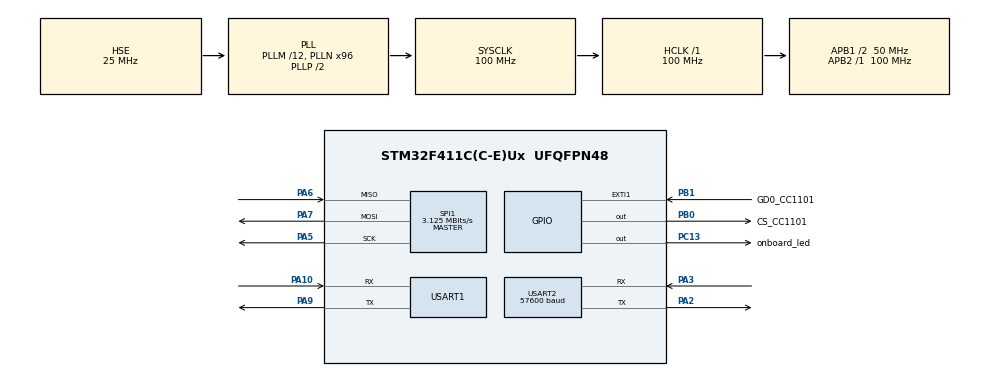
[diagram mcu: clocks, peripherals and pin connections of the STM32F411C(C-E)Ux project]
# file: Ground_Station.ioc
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FREERTOS.Tasks01=heartBeatTask,8,128,StartHeartBeatTask,Default,NULL,Dynamic,NULL,NULL;radioTask,40,128,StartRadioTask,Default,NULL,Dynamic,NULL,NULL;opticalTask,40,128,StartOpticalTask,Default,NULL,Dynamic,NULL,NULL;logTask,24,128,StartLogTask,Default,NULL,Dynamic,NULL,NULL
Mcu.Family=STM32F4
Mcu.Name=STM32F411C(C-E)Ux
Mcu.Package=UFQFPN48
NVIC.EXTI1_IRQn=true\:5\:0\:false\:false\:true\:true\:true\:true\:true
NVIC.PriorityGroup=NVIC_PRIORITYGROUP_4
NVIC.TIM1_TRG_COM_TIM11_IRQn=true\:15\:0\:false\:false\:true\:false\:false\:true\:true
NVIC.TimeBase=TIM1_TRG_COM_TIM11_IRQn
NVIC.TimeBaseIP=TIM11
NVIC.USART2_IRQn=true\:5\:0\:false\:false\:true\:true\:true\:true\:true
PA10.Mode=Asynchronous
PA10.Signal=USART1_RX
PA13.Mode=Serial_Wire
PA13.Signal=SYS_JTMS-SWDIO
PA14.Mode=Serial_Wire
PA14.Signal=SYS_JTCK-SWCLK
PA2.Mode=IrDA
PA2.Signal=USART2_TX
PA3.Mode=IrDA
PA3.Signal=USART2_RX
PA5.Mode=Full_Duplex_Master
PA5.Signal=SPI1_SCK
PA6.Mode=Full_Duplex_Master
PA6.Signal=SPI1_MISO
PA7.Mode=Full_Duplex_Master
PA7.Signal=SPI1_MOSI
PA9.Mode=Asynchronous
PA9.Signal=USART1_TX
PB0.GPIO_Label=CS_CC1101
PB0.Signal=GPIO_Output
PB1.GPIO_Label=GD0_CC1101
PB1.GPIO_ModeDefaultEXTI=GPIO_MODE_IT_FALLING
PB1.Signal=GPXTI1
PC13-ANTI_TAMP.GPIO_Label=onboard_led
PC13-ANTI_TAMP.Signal=GPIO_Output
PH0\ -\ OSC_IN.Mode=HSE-External-Oscillator
PH0\ -\ OSC_IN.Signal=RCC_OSC_IN
PH1\ -\ OSC_OUT.Mode=HSE-External-Oscillator
PH1\ -\ OSC_OUT.Signal=RCC_OSC_OUT
ProjectManager.HeapSize=0x200
ProjectManager.StackSize=0x400
ProjectManager.TargetToolchain=CMake
RCC.48MHZClocksFreq_Value=50000000
RCC.AHBFreq_Value=100000000
RCC.APB1CLKDivider=RCC_HCLK_DIV2
RCC.APB1Freq_Value=50000000
RCC.APB1TimFreq_Value=100000000
RCC.APB2Freq_Value=100000000
RCC.APB2TimFreq_Value=100000000
RCC.CortexFreq_Value=100000000
RCC.HCLKFreq_Value=100000000
RCC.HSE_VALUE=25000000
RCC.HSI_VALUE=16000000
RCC.LSE_VALUE=32768
RCC.PLLM=12
RCC.PLLN=96
RCC.PLLSourceVirtual=RCC_PLLSOURCE_HSE
RCC.SYSCLKFreq_VALUE=100000000
RCC.SYSCLKSource=RCC_SYSCLKSOURCE_PLLCLK
RCC.VCOOutputFreq_Value=200000000
SPI1.BaudRatePrescaler=SPI_BAUDRATEPRESCALER_32
SPI1.CalculateBaudRate=3.125 MBits/s
SPI1.Direction=SPI_DIRECTION_2LINES
SPI1.Mode=SPI_MODE_MASTER
SPI1.VirtualType=VM_MASTER
USART1.VirtualMode=VM_ASYNC
USART2.BaudRate=57600
USART2.VirtualMode=VM_IRDA
VP_FREERTOS_VS_CMSIS_V2.Mode=CMSIS_V2
VP_SYS_VS_tim11.Mode=TIM11
board=custom

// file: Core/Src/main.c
/* USER CODE BEGIN Header */
/**
  ******************************************************************************
  * @file           : main.c
  * @brief          : Main program body
  ******************************************************************************
  * @attention
  *
  * Copyright (c) 2026 STMicroelectronics.
  * All rights reserved.
  *
  * This software is licensed under terms that can be found in the LICENSE file
  * in the root directory of this software component.
  * If no LICENSE file comes with this software, it is provided AS-IS.
  *
  ******************************************************************************
  */
/* USER CODE END Header */
#include "main.h"
#include "cmsis_os.h"

/* USER CODE BEGIN Includes */
#include "cc1101.h"
#include "cmsis_os2.h"
#include "stm32f4xx_hal_gpio.h"
#include "stm32f4xx_hal_irda.h"
#include "stm32f4xx_hal_uart.h"
#include <stdint.h>
#include <string.h>
/* USER CODE END Includes */

/* USER CODE BEGIN PTD */
typedef struct {
  uint8_t partNum;
  uint8_t version;
  int16_t rssi;
  uint32_t packets_received;
} RadioTaskContext_t;

typedef struct {
  uint8_t rxData;
} OpticalTaskContext_t;

typedef struct __attribute__((packed)) {
  float temperature_c;
  float battery_voltage;
  uint8_t battery_percentage;
} TelemetryPacket_t;

// A global instance to hold parsed data
TelemetryPacket_t parsed_telemetry;
/* USER CODE END PTD */

SPI_HandleTypeDef hspi1;

UART_HandleTypeDef huart1;
IRDA_HandleTypeDef hirda2;

/* Definitions for heartBeatTask */
osThreadId_t heartBeatTaskHandle;
const osThreadAttr_t heartBeatTask_attributes = {
  .name = "heartBeatTask",
  .stack_size = 128 * 4,
  .priority = (osPriority_t) osPriorityLow,
};
/* Definitions for radioTask */
osThreadId_t radioTaskHandle;
const osThreadAttr_t radioTask_attributes = {
  .name = "radioTask",
  .stack_size = 128 * 4,
  .priority = (osPriority_t) osPriorityHigh,
};
/* Definitions for opticalTask */
osThreadId_t opticalTaskHandle;
const osThreadAttr_t opticalTask_attributes = {
  .name = "opticalTask",
  .stack_size = 128 * 4,
  .priority = (osPriority_t) osPriorityHigh,
};
/* Definitions for logTask */
osThreadId_t logTaskHandle;
const osThreadAttr_t logTask_attributes = {
  .name = "logTask",
  .stack_size = 128 * 4,
  .priority = (osPriority_t) osPriorityNormal,
};
/* USER CODE BEGIN PV */
RadioTaskContext_t radioContext = {0};
OpticalTaskContext_t opticalContext = {0};
/* USER CODE END PV */

void SystemClock_Config(void);
static void MX_GPIO_Init(void);
static void MX_SPI1_Init(void);
static void MX_USART1_UART_Init(void);
static void MX_USART2_IRDA_Init(void);
void StartHeartBeatTask(void *argument);
void StartRadioTask(void *argument);
void StartOpticalTask(void *argument);
void StartLogTask(void *argument);

int main(void)
{

  /* MCU Configuration--------------------------------------------------------*/

  /* Reset of all peripherals, Initializes the Flash interface and the Systick. */
   HAL_Init();

  /* Configure the system clock */
  SystemClock_Config();

  /* Initialize all configured peripherals */
  MX_GPIO_Init();
  MX_SPI1_Init();
  MX_USART1_UART_Init();
  MX_USART2_IRDA_Init();

  /* Init scheduler */
  osKernelInitialize();

  /* Create the thread(s) */
  /* creation of heartBeatTask */
  heartBeatTaskHandle = osThreadNew(StartHeartBeatTask, NULL, &heartBeatTask_attributes);

  /* creation of radioTask */
  radioTaskHandle = osThreadNew(StartRadioTask, NULL, &radioTask_attributes);

  /* creation of opticalTask */
  opticalTaskHandle = osThreadNew(StartOpticalTask, NULL, &opticalTask_attributes);

  /* creation of logTask */
  logTaskHandle = osThreadNew(StartLogTask, NULL, &logTask_attributes);

  /* Start scheduler */
  osKernelStart();

  /* We should never get here as control is now taken by the scheduler */

  /* Infinite loop */
  while (1)
  {

  }
}

void SystemClock_Config(void)
{
  RCC_OscInitTypeDef RCC_OscInitStruct = {0};
  RCC_ClkInitTypeDef RCC_ClkInitStruct = {0};

  /** Configure the main internal regulator output voltage
  */
  __HAL_RCC_PWR_CLK_ENABLE();
  __HAL_PWR_VOLTAGESCALING_CONFIG(PWR_REGULATOR_VOLTAGE_SCALE1);

  /** Initializes the RCC Oscillators according to the specified parameters
  * in the RCC_OscInitTypeDef structure.
  */
  RCC_OscInitStruct.OscillatorType = RCC_OSCILLATORTYPE_HSE;
  RCC_OscInitStruct.HSEState = RCC_HSE_ON;
  RCC_OscInitStruct.PLL.PLLState = RCC_PLL_ON;
  RCC_OscInitStruct.PLL.PLLSource = RCC_PLLSOURCE_HSE;
  RCC_OscInitStruct.PLL.PLLM = 12;
  RCC_OscInitStruct.PLL.PLLN = 96;
  RCC_OscInitStruct.PLL.PLLP = RCC_PLLP_DIV2;
  RCC_OscInitStruct.PLL.PLLQ = 4;
  if (HAL_RCC_OscConfig(&RCC_OscInitStruct) != HAL_OK)
  {
    Error_Handler();
  }

  /** Initializes the CPU, AHB and APB buses clocks
  */
  RCC_ClkInitStruct.ClockType = RCC_CLOCKTYPE_HCLK|RCC_CLOCKTYPE_SYSCLK
                              |RCC_CLOCKTYPE_PCLK1|RCC_CLOCKTYPE_PCLK2;
  RCC_ClkInitStruct.SYSCLKSource = RCC_SYSCLKSOURCE_PLLCLK;
  RCC_ClkInitStruct.AHBCLKDivider = RCC_SYSCLK_DIV1;
  RCC_ClkInitStruct.APB1CLKDivider = RCC_HCLK_DIV2;
  RCC_ClkInitStruct.APB2CLKDivider = RCC_HCLK_DIV1;

  if (HAL_RCC_ClockConfig(&RCC_ClkInitStruct, FLASH_LATENCY_3) != HAL_OK)
  {
    Error_Handler();
  }
}

static void MX_SPI1_Init(void)
{

  /* SPI1 parameter configuration*/
  hspi1.Instance = SPI1;
  hspi1.Init.Mode = SPI_MODE_MASTER;
  hspi1.Init.Direction = SPI_DIRECTION_2LINES;
  hspi1.Init.DataSize = SPI_DATASIZE_8BIT;
  hspi1.Init.CLKPolarity = SPI_POLARITY_LOW;
  hspi1.Init.CLKPhase = SPI_PHASE_1EDGE;
  hspi1.Init.NSS = SPI_NSS_SOFT;
  hspi1.Init.BaudRatePrescaler = SPI_BAUDRATEPRESCALER_32;
  hspi1.Init.FirstBit = SPI_FIRSTBIT_MSB;
  hspi1.Init.TIMode = SPI_TIMODE_DISABLE;
  hspi1.Init.CRCCalculation = SPI_CRCCALCULATION_DISABLE;
  hspi1.Init.CRCPolynomial = 10;
  if (HAL_SPI_Init(&hspi1) != HAL_OK)
  {
    Error_Handler();
  }

}

static void MX_USART1_UART_Init(void)
{

  huart1.Instance = USART1;
  huart1.Init.BaudRate = 115200;
  huart1.Init.WordLength = UART_WORDLENGTH_8B;
  huart1.Init.StopBits = UART_STOPBITS_1;
  huart1.Init.Parity = UART_PARITY_NONE;
  huart1.Init.Mode = UART_MODE_TX_RX;
  huart1.Init.HwFlowCtl = UART_HWCONTROL_NONE;
  huart1.Init.OverSampling = UART_OVERSAMPLING_16;
  if (HAL_UART_Init(&huart1) != HAL_OK)
  {
    Error_Handler();
  }

}

static void MX_USART2_IRDA_Init(void)
{

  hirda2.Instance = USART2;
  hirda2.Init.BaudRate = 57600;
  hirda2.Init.WordLength = IRDA_WORDLENGTH_8B;
  hirda2.Init.Parity = IRDA_PARITY_NONE;
  hirda2.Init.Mode = IRDA_MODE_TX_RX;
  hirda2.Init.Prescaler = 1;
  hirda2.Init.IrDAMode = IRDA_POWERMODE_NORMAL;
  if (HAL_IRDA_Init(&hirda2) != HAL_OK)
  {
    Error_Handler();
  }

}

static void MX_GPIO_Init(void)
{
  GPIO_InitTypeDef GPIO_InitStruct = {0};

  /* GPIO Ports Clock Enable */
  __HAL_RCC_GPIOC_CLK_ENABLE();
  __HAL_RCC_GPIOH_CLK_ENABLE();
  __HAL_RCC_GPIOA_CLK_ENABLE();
  __HAL_RCC_GPIOB_CLK_ENABLE();

  /*Configure GPIO pin Output Level */
  HAL_GPIO_WritePin(onboard_led_GPIO_Port, onboard_led_Pin, GPIO_PIN_RESET);

  /*Configure GPIO pin Output Level */
  HAL_GPIO_WritePin(CS_CC1101_GPIO_Port, CS_CC1101_Pin, GPIO_PIN_RESET);

  /*Configure GPIO pin : onboard_led_Pin */
  GPIO_InitStruct.Pin = onboard_led_Pin;
  GPIO_InitStruct.Mode = GPIO_MODE_OUTPUT_PP;
  GPIO_InitStruct.Pull = GPIO_NOPULL;
  GPIO_InitStruct.Speed = GPIO_SPEED_FREQ_LOW;
  HAL_GPIO_Init(onboard_led_GPIO_Port, &GPIO_InitStruct);

  /*Configure GPIO pin : CS_CC1101_Pin */
  GPIO_InitStruct.Pin = CS_CC1101_Pin;
  GPIO_InitStruct.Mode = GPIO_MODE_OUTPUT_PP;
  GPIO_InitStruct.Pull = GPIO_NOPULL;
  GPIO_InitStruct.Speed = GPIO_SPEED_FREQ_LOW;
  HAL_GPIO_Init(CS_CC1101_GPIO_Port, &GPIO_InitStruct);

  /*Configure GPIO pin : GD0_CC1101_Pin */
  GPIO_InitStruct.Pin = GD0_CC1101_Pin;
  GPIO_InitStruct.Mode = GPIO_MODE_IT_FALLING;
  GPIO_InitStruct.Pull = GPIO_NOPULL;
  HAL_GPIO_Init(GD0_CC1101_GPIO_Port, &GPIO_InitStruct);

  /* EXTI interrupt init*/
  HAL_NVIC_SetPriority(EXTI1_IRQn, 5, 0);
  HAL_NVIC_EnableIRQ(EXTI1_IRQn);

}

/* USER CODE BEGIN 4 */
void HAL_GPIO_EXTI_Callback(uint16_t GPIO_Pin)
{
  if (GPIO_Pin == GD0_CC1101_Pin) {
    osThreadFlagsSet(radioTaskHandle, CC1101_RX_FLAG);
  }
}

void HAL_IRDA_RxCpltCallback(IRDA_HandleTypeDef *hirda)
{
  if (hirda->Instance == USART2)
  {
    osThreadFlagsSet(opticalTaskHandle, OPTICAL_RX_FLAG);
  }
}
/* USER CODE END 4 */

void StartHeartBeatTask(void *argument)
{
  /* USER CODE BEGIN 5 */
  /* Infinite loop */
  for(;;)
  {
    HAL_GPIO_TogglePin(onboard_led_GPIO_Port, onboard_led_Pin);
    osDelay(500);
  }
  /* USER CODE END 5 */
}

void StartRadioTask(void *argument)
{
  /* USER CODE BEGIN StartRadioTask */
  uint8_t rx_buffer[64];
  uint8_t bytes_in_fifo_raw = 0;
  uint8_t bytes_in_fifo = 0;
  uint8_t rx_len = 0;

  CC1101_t cc1101 = {
    .hspi = &hspi1,
    .csPort = CS_CC1101_GPIO_Port,
    .csPin = CS_CC1101_Pin,
    .gdo0Port = GD0_CC1101_GPIO_Port,
    .gdo0Pin = GD0_CC1101_Pin
  };

  if (!CC1101_Init(&cc1101)) {
      // Initialization failed, handle error (e.g., blink LED)
      while (1) {
          HAL_GPIO_TogglePin(onboard_led_GPIO_Port, onboard_led_Pin);
          osDelay(500);
      }
  }
  radioContext.partNum = CC1101_ReadReg(&cc1101, CC1101_PARTNUM);
  radioContext.version = CC1101_ReadReg(&cc1101, CC1101_VERSION);

  CC1101_Strobe(&cc1101, CC1101_SRX); // Start in RX mode
  osDelay(100);

  /* Infinite loop */
  for(;;)
  {
    // Wait for the RX flag to be set by the EXTI callback
    osThreadFlagsWait(CC1101_RX_FLAG, osFlagsWaitAny, osWaitForever);
    bytes_in_fifo_raw = CC1101_ReadStatus(&cc1101, CC1101_RXBYTES);

    if (bytes_in_fifo_raw & 0x80) {
        // Overflow, flush RX FIFO
        CC1101_Strobe(&cc1101, CC1101_SIDLE);
        CC1101_Strobe(&cc1101, CC1101_SFRX);
        CC1101_Strobe(&cc1101, CC1101_SRX);
        continue;
    }
    bytes_in_fifo = bytes_in_fifo_raw & 0x7F;

    if (bytes_in_fifo >= 4)
    {
      rx_len = CC1101_ReceivePacket(&cc1101, rx_buffer);

      if (rx_len == sizeof(TelemetryPacket_t))
      {
        memcpy(&parsed_telemetry, rx_buffer, rx_len);
        radioContext.rssi = CC1101_GetRSSI(rx_buffer, rx_len);
        radioContext.packets_received++;

        uint8_t sync_byte = 0xAA;
        HAL_UART_Transmit(&huart1, &sync_byte, 1, 10);
        HAL_UART_Transmit(&huart1, (uint8_t*)&parsed_telemetry, sizeof(parsed_telemetry), 10);
        HAL_UART_Transmit(&huart1, &opticalContext.rxData, sizeof(opticalContext.rxData), 10);
      }
    }

    CC1101_Strobe(&cc1101, CC1101_SIDLE);
    CC1101_Strobe(&cc1101, CC1101_SFRX);
    CC1101_Strobe(&cc1101, CC1101_SRX);

  }
  /* USER CODE END StartRadioTask */
}

void StartOpticalTask(void *argument)
{
  /* USER CODE BEGIN StartOpticalTask */
  HAL_IRDA_Receive_IT(&hirda2, &opticalContext.rxData, sizeof(opticalContext.rxData));
  /* Infinite loop */
  for(;;)
  {
    osThreadFlagsWait(OPTICAL_RX_FLAG, osFlagsWaitAll, osWaitForever);
    HAL_IRDA_Receive_IT(&hirda2, &opticalContext.rxData, sizeof(opticalContext.rxData));
  }
  /* USER CODE END StartOpticalTask */
}

void StartLogTask(void *argument)
{
  for(;;)
  {
    osDelay(1);
  }
}

void HAL_TIM_PeriodElapsedCallback(TIM_HandleTypeDef *htim)
{
  if (htim->Instance == TIM11)
  {
    HAL_IncTick();
  }
}

void Error_Handler(void)
{
  __disable_irq();
  while (1)
  {
  }
}
